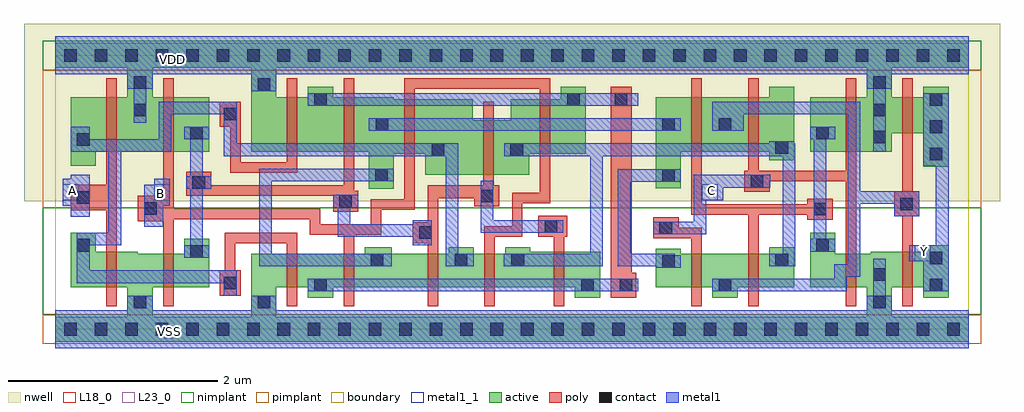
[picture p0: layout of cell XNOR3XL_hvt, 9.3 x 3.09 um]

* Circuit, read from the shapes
.subckt XNOR3XL_hvt A B C VDD VSS Y
M1 VSS A n1 VSS nfet w=0.34u l=0.1u
M2 n2 B VSS VSS nfet w=0.32u l=0.1u
M3 n3 n1 VSS VSS nfet w=0.32u l=0.1u
M4 n4 B n3 VSS nfet w=0.32u l=0.1u
M5 n1 n2 n4 VSS nfet w=0.32u l=0.1u
M6 n5 B n1 VSS nfet w=0.32u l=0.1u
M7 n3 n2 n5 VSS nfet w=0.34u l=0.1u
M8 n6 C n4 VSS nfet w=0.32u l=0.1u
M9 n5 n7 n6 VSS nfet w=0.32u l=0.1u
M10 VSS C n7 VSS nfet w=0.32u l=0.1u
M11 Y n6 VSS VSS nfet w=0.34u l=0.1u
M12 VDD A n1 VDD pfet w=0.52u l=0.1u
M13 n2 B VDD VDD pfet w=0.52u l=0.1u
M14 n3 n1 VDD VDD pfet w=0.52u l=0.1u
M15 n4 n2 n3 VDD pfet w=0.52u l=0.1u
M16 n1 B n4 VDD pfet w=0.52u l=0.1u
M17 n5 n2 n1 VDD pfet w=0.52u l=0.1u
M18 n3 B n5 VDD pfet w=0.52u l=0.1u
M19 n6 n7 n4 VDD pfet w=0.52u l=0.1u
M20 n5 C n6 VDD pfet w=0.52u l=0.1u
M21 VDD C n7 VDD pfet w=0.52u l=0.1u
M22 Y n6 VDD VDD pfet w=0.34u l=0.1u
.ends

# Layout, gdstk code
import gdstk
lib = gdstk.Library(unit=1e-6, precision=5e-10)
def R(c, l, rs):  # rectangles x0, y0, x1, y1
    for r in rs: c.add(gdstk.rectangle(r[:2], r[2:], *l))
def A(c, l, x, y, w, h, nx, ny, dx, dy):  # array of equal rectangles
    R(c, l, [(x+i*dx, y+j*dy, x+i*dx+w, y+j*dy+h) for i in range(nx) for j in range(ny)])
def P(c, l, *ps):  # polygons
    for p in ps: c.add(gdstk.Polygon(p, *l))
active = (1, 0)
nwell = (2, 0)
poly = (3, 0)
nimplant = (4, 0)
pimplant = (5, 0)
contact = (6, 0)
metal1 = (7, 0)
metal1_1 = (7, 1)
L18_0 = (18, 0)
L23_0 = (23, 0)
boundary = (62, 0)

xnor3xl_hvt = lib.new_cell('XNOR3XL_hvt')
R(xnor3xl_hvt, active, [(0.385,0.68,0.785,0.74), (4.505,0.68,5.19,0.74), (7.77,0.695,8.305,0.74)])
P(xnor3xl_hvt, active, [(8.7,0.12),(7.97,0.12),(7.97,0.4),(8.27,0.4),(8.27,0.3),(8.51,0.3),(8.51,0.8),(8.27,0.8),(8.27,0.72),(7.43,0.72),(7.43,0.92),(7.19,0.92),(7.19,0.4),(7.73,0.4),(7.73,0.12),(2.105,0.12),(2.105,0.4),(2.405,0.4),(2.405,0.3),(2.645,0.3),(2.645,0.4),(4.95,0.4),(4.95,0.3),(5.19,0.3),(5.19,0.72),(4.525,0.72),(4.525,0.78),(4.285,0.78),(4.285,0.72),(3.985,0.72),(3.985,0.78),(3.745,0.78),(3.745,0.72),(3.205,0.72),(3.205,0.78),(2.945,0.78),(2.945,0.72),(1.865,0.72),(1.865,0.12),(0.925,0.12),(0.925,0.4),(1.465,0.4),(1.465,0.86),(1.225,0.86),(1.225,0.72),(0.385,0.72),(0.385,0.92),(0.145,0.92),(0.145,0.4),(0.685,0.4),(0.685,0.12),(0,0.12),(0,-0.12),(8.7,-0.12)],
  [(7.04,2.31),(6.8,2.31),(6.8,2.21),(5.72,2.21),(5.72,1.345),(5.96,1.345),(5.96,1.69),(6.8,1.69),(6.8,1.61),(7.04,1.61)],
  [(7.04,0.78),(6.8,0.78),(6.8,0.72),(5.96,0.72),(5.96,0.765),(5.72,0.765),(5.72,0.4),(6.26,0.4),(6.26,0.3),(6.5,0.3),(6.5,0.4),(7.04,0.4)],
  [(8.7,2.73),(0,2.73),(0,2.49),(0.685,2.49),(0.685,2.21),(0.145,2.21),(0.145,1.56),(0.385,1.56),(0.385,1.69),(1.465,1.69),(1.465,2.21),(0.925,2.21),(0.925,2.49),(1.865,2.49),(1.865,1.69),(2.985,1.69),(2.985,1.34),(3.225,1.34),(3.225,1.67),(3.525,1.67),(3.525,1.47),(4.515,1.47),(4.515,1.67),(5.055,1.67),(5.055,2.31),(4.815,2.31),(4.815,2.19),(4.34,2.19),(4.34,1.99),(3.975,1.99),(3.975,2.19),(3.225,2.19),(3.225,2.21),(2.645,2.21),(2.645,2.31),(2.405,2.31),(2.405,2.21),(2.105,2.21),(2.105,2.49),(7.73,2.49),(7.73,2.21),(7.19,2.21),(7.19,1.69),(7.97,1.69),(7.97,1.87),(8.27,1.87),(8.27,1.55),(8.51,1.55),(8.51,2.31),(8.27,2.31),(8.27,2.21),(7.97,2.21),(7.97,2.49),(8.7,2.49)])
R(xnor3xl_hvt, nwell, [(-0.3,1.22,9,2.91)])
R(xnor3xl_hvt, poly, [(1.245,1.3,1.485,1.5), (5.29,2.07,5.49,2.31)])
P(xnor3xl_hvt, poly, [(5.535,0.54),(5.49,0.54),(5.49,2.085),(5.29,2.085),(5.29,0.3),(5.535,0.3)],
  [(4.875,1.08),(4.6,1.08),(4.6,0.88),(4.75,0.88),(4.75,0.22),(4.85,0.22),(4.85,0.88),(4.875,0.88)],
  [(4.715,2.39),(3.325,2.39),(3.325,1.24),(3.005,1.24),(3.005,1),(2.525,1),(2.525,1.15),(1.105,1.15),(1.105,1.05),(2.425,1.05),(2.425,0.9),(2.745,0.9),(2.745,0.22),(2.845,0.22),(2.845,0.9),(3.105,0.9),(3.105,1.14),(3.425,1.14),(3.425,2.29),(4.615,2.29),(4.615,1.3),(4.35,1.3),(4.35,0.98),(4.085,0.98),(4.085,0.22),(4.185,0.22),(4.185,0.88),(4.45,0.88),(4.45,1.2),(4.715,1.2)],
  [(4.23,1.37),(4.175,1.37),(4.175,2.17),(4.075,2.17),(4.075,1.37),(3.545,1.37),(3.545,1.02),(3.405,1.02),(3.405,0.82),(3.545,0.82),(3.545,0.22),(3.645,0.22),(3.645,1.25),(3.99,1.25),(3.99,1.17),(4.23,1.17)],
  [(8.23,1.315),(8.17,1.315),(8.17,2.39),(8.07,2.39),(8.07,1.315),(7.99,1.315),(7.99,1.075),(8.07,1.075),(8.07,0.22),(8.17,0.22),(8.17,1.075),(8.23,1.075)],
  [(2.885,1.32),(2.845,1.32),(2.845,2.39),(2.745,2.39),(2.745,1.37),(1.245,1.37),(1.245,1.27),(2.645,1.27),(2.645,1.12),(2.885,1.12)],
  [(7.405,1.245),(7.165,1.245),(7.165,1.19),(6.16,1.19),(6.16,2.39),(6.06,2.39),(6.06,1.09),(6.6,1.09),(6.6,0.22),(6.7,0.22),(6.7,1.09),(7.165,1.09),(7.165,1.045),(7.405,1.045)],
  [(7.63,2.39),(7.53,2.39),(7.53,1.51),(6.7,1.51),(6.7,2.39),(6.6,2.39),(6.6,1.51),(6.565,1.51),(6.565,1.31),(6.805,1.31),(6.805,1.41),(7.53,1.41),(7.53,0.22),(7.63,0.22)],
  [(6.16,0.965),(5.94,0.965),(5.94,1.065),(5.695,1.065),(5.695,0.865),(6.06,0.865),(6.06,0.22),(6.16,0.22)],
  [(2.305,2.39),(2.205,2.39),(2.205,1.59),(1.765,1.59),(1.765,2.17),(1.565,2.17),(1.565,1.93),(1.665,1.93),(1.665,1.49),(2.305,1.49)],
  [(2.305,0.92),(1.615,0.92),(1.615,0.56),(1.565,0.56),(1.565,0.32),(1.765,0.32),(1.765,0.56),(1.715,0.56),(1.715,0.82),(2.205,0.82),(2.205,0.22),(2.305,0.22)],
  [(0.585,2.39),(0.485,2.39),(0.485,1.375),(0.145,1.375),(0.145,1.135),(0.485,1.135),(0.485,0.22),(0.585,0.22)],
  [(1.125,2.39),(1.025,2.39),(1.025,1.27),(0.785,1.27),(0.785,1.03),(1.025,1.03),(1.025,0.22),(1.125,0.22)])
R(xnor3xl_hvt, nimplant, [(-0.12,0.14,8.82,1.16), (-0.12,2.47,8.82,2.75)])
R(xnor3xl_hvt, pimplant, [(-0.12,-0.14,8.82,0.14), (-0.12,1.16,8.82,2.47)])
A(xnor3xl_hvt, contact, 0.085, -0.06, 0.12, 0.12, 30, 2, 0.29, 2.61)
A(xnor3xl_hvt, contact, 8.33, 1.61, 0.12, 0.12, 1, 3, 0, 0.26)
A(xnor3xl_hvt, contact, 7.79, 1.77, 0.12, 0.12, 1, 3, 0, 0.26)
R(xnor3xl_hvt, contact, [(0.745,0.2,0.865,0.32), (1.925,0.2,2.045,0.32), (7.79,0.2,7.91,0.32), (2.465,0.36,2.585,0.48), (5.01,0.36,5.13,0.48), (5.375,0.36,5.495,0.48), (6.32,0.36,6.44,0.48), (8.33,0.36,8.45,0.48), (1.605,0.38,1.725,0.5), (7.79,0.46,7.91,0.58), (5.78,0.585,5.9,0.705), (3.005,0.6,3.125,0.72), (3.805,0.6,3.925,0.72), (4.345,0.6,4.465,0.72), (6.86,0.6,6.98,0.72), (8.33,0.62,8.45,0.74), (1.285,0.68,1.405,0.8), (0.205,0.74,0.325,0.86), (7.25,0.74,7.37,0.86), (3.465,0.86,3.585,0.98), (5.755,0.905,5.875,1.025), (4.66,0.92,4.78,1.04), (7.225,1.085,7.345,1.205), (0.845,1.09,0.965,1.21), (8.05,1.135,8.17,1.255), (2.705,1.16,2.825,1.28), (0.205,1.195,0.325,1.315), (4.05,1.21,4.17,1.33), (1.305,1.34,1.425,1.46), (6.625,1.35,6.745,1.47), (5.78,1.405,5.9,1.525), (3.045,1.41,3.165,1.53), (3.585,1.65,3.705,1.77), (4.335,1.65,4.455,1.77), (6.86,1.67,6.98,1.79), (0.205,1.75,0.325,1.87), (1.285,1.81,1.405,1.93), (7.25,1.81,7.37,1.93), (3.05,1.89,3.17,2.01), (5.78,1.89,5.9,2.01), (6.32,1.89,6.44,2.01), (1.605,1.99,1.725,2.11), (0.745,2.03,0.865,2.15), (2.465,2.13,2.585,2.25), (4.875,2.13,4.995,2.25), (5.33,2.13,5.45,2.25), (1.925,2.27,2.045,2.39), (0.745,2.29,0.865,2.41)])
R(xnor3xl_hvt, metal1, [(2.405,0.36,5.555,0.48), (8.135,0.65,8.395,0.8), (0.845,0.975,1.025,1.375), (0.145,1.07,0.325,1.47), (0.07,1.175,0.22,1.435), (0.94,1.175,1.09,1.435), (6.105,1.23,6.365,1.38), (2.985,1.89,5.96,2.01), (2.405,2.13,5.555,2.25)])
P(xnor3xl_hvt, metal1, [(4.84,1.04),(4.17,1.04),(4.17,1.415),(4.05,1.415),(4.05,0.92),(4.84,0.92)],
  [(7.05,1.77),(7.04,1.77),(7.04,1.79),(6.8,1.79),(6.8,1.77),(4.275,1.77),(4.275,1.65),(5.095,1.65),(5.095,0.72),(4.27,0.72),(4.27,0.6),(5.215,0.6),(5.215,1.65),(6.93,1.65),(6.93,0.72),(6.8,0.72),(6.8,0.6),(7.05,0.6)],
  [(3.985,0.72),(3.84,0.72),(3.84,1.77),(1.725,1.77),(1.725,2.17),(0.985,2.17),(0.985,1.81),(0.325,1.81),(0.325,1.93),(0.145,1.93),(0.145,1.69),(0.505,1.69),(0.505,0.92),(0.205,0.92),(0.205,0.44),(1.605,0.44),(1.605,0.32),(1.725,0.32),(1.725,0.56),(0.325,0.56),(0.325,0.8),(0.625,0.8),(0.625,1.69),(1.105,1.69),(1.105,2.05),(1.605,2.05),(1.605,1.65),(3.72,1.65),(3.72,0.6),(3.985,0.6)],
  [(3.585,1.04),(3.405,1.04),(3.405,1),(2.81,1),(2.81,1.16),(2.885,1.16),(2.885,1.28),(2.645,1.28),(2.645,1.16),(2.69,1.16),(2.69,0.88),(3.405,0.88),(3.405,0.8),(3.585,0.8)],
  [(8.7,0.18),(7.97,0.18),(7.97,0.32),(7.91,0.32),(7.91,0.67),(7.79,0.67),(7.79,0.32),(7.73,0.32),(7.73,0.18),(2.105,0.18),(2.105,0.32),(1.865,0.32),(1.865,0.18),(0.925,0.18),(0.925,0.32),(0.685,0.32),(0.685,0.18),(0,0.18),(0,-0.18),(8.7,-0.18)],
  [(8.7,2.79),(0,2.79),(0,2.43),(0.685,2.43),(0.685,2.29),(0.745,2.29),(0.745,1.97),(0.865,1.97),(0.865,2.29),(0.925,2.29),(0.925,2.43),(1.865,2.43),(1.865,2.27),(2.105,2.27),(2.105,2.43),(7.73,2.43),(7.73,2.29),(7.79,2.29),(7.79,1.69),(7.91,1.69),(7.91,2.29),(7.97,2.29),(7.97,2.43),(8.7,2.43)],
  [(8.51,2.25),(8.27,2.25),(8.27,1.56),(8.39,1.56),(8.39,0.8),(8.27,0.8),(8.27,0.36),(8.51,0.36)],
  [(8.23,1.315),(7.67,1.315),(7.67,2.17),(6.26,2.17),(6.26,1.89),(6.56,1.89),(6.56,2.05),(7.55,2.05),(7.55,0.62),(7.42,0.62),(7.42,0.48),(6.26,0.48),(6.26,0.36),(7.54,0.36),(7.54,0.5),(7.67,0.5),(7.67,1.195),(7.99,1.195),(7.99,1.075),(8.23,1.075)],
  [(7.43,0.86),(7.345,0.86),(7.345,1.81),(7.43,1.81),(7.43,1.93),(7.19,1.93),(7.19,1.81),(7.225,1.81),(7.225,0.86),(7.19,0.86),(7.19,0.74),(7.43,0.74)],
  [(1.485,1.46),(1.405,1.46),(1.405,1.81),(1.465,1.81),(1.465,1.93),(1.225,1.93),(1.225,1.81),(1.285,1.81),(1.285,1.46),(1.245,1.46),(1.245,1.34),(1.285,1.34),(1.285,0.8),(1.225,0.8),(1.225,0.68),(1.465,0.68),(1.465,0.8),(1.405,0.8),(1.405,1.34),(1.485,1.34)],
  [(6.81,1.47),(6.08,1.47),(6.08,1.025),(5.695,1.025),(5.695,0.905),(6.2,0.905),(6.2,1.35),(6.81,1.35)],
  [(5.96,0.705),(5.9,0.705),(5.9,0.72),(5.48,0.72),(5.48,1.405),(5.96,1.405),(5.96,1.525),(5.36,1.525),(5.36,0.6),(5.72,0.6),(5.72,0.585),(5.96,0.585)])
R(xnor3xl_hvt, metal1_1, [(1.03,-0.085,1.15,0.035), (8.19,0.65,8.34,0.8), (0.07,1.23,0.22,1.38), (0.94,1.23,1.09,1.38), (6.16,1.23,6.31,1.38), (1.055,2.51,1.175,2.63)])
P(xnor3xl_hvt, L18_0, [(7.19,0.4),(7.73,0.4),(7.73,0.14),(7.97,0.14),(7.97,0.4),(8.27,0.4),(8.27,0.3),(8.51,0.3),(8.51,0.8),(8.27,0.8),(8.27,0.74),(7.77,0.74),(7.77,0.72),(7.43,0.72),(7.43,0.92),(7.19,0.92)],
  [(5.72,0.4),(6.26,0.4),(6.26,0.3),(6.5,0.3),(6.5,0.4),(7.04,0.4),(7.04,0.78),(6.8,0.78),(6.8,0.72),(5.96,0.72),(5.96,0.765),(5.72,0.765)],
  [(1.865,0.14),(2.105,0.14),(2.105,0.4),(2.405,0.4),(2.405,0.3),(2.645,0.3),(2.645,0.4),(4.95,0.4),(4.95,0.3),(5.19,0.3),(5.19,0.74),(4.525,0.74),(4.525,0.78),(4.285,0.78),(4.285,0.72),(3.985,0.72),(3.985,0.78),(3.745,0.78),(3.745,0.72),(3.205,0.72),(3.205,0.78),(2.945,0.78),(2.945,0.72),(1.865,0.72)],
  [(0.145,0.4),(0.685,0.4),(0.685,0.14),(0.925,0.14),(0.925,0.4),(1.465,0.4),(1.465,0.86),(1.225,0.86),(1.225,0.72),(0.785,0.72),(0.785,0.74),(0.385,0.74),(0.385,0.92),(0.145,0.92)])
P(xnor3xl_hvt, L23_0, [(7.19,1.69),(7.97,1.69),(7.97,1.87),(8.27,1.87),(8.27,1.55),(8.51,1.55),(8.51,2.31),(8.27,2.31),(8.27,2.21),(7.97,2.21),(7.97,2.47),(7.73,2.47),(7.73,2.21),(7.19,2.21)],
  [(5.72,1.345),(5.96,1.345),(5.96,1.69),(6.8,1.69),(6.8,1.61),(7.04,1.61),(7.04,2.31),(6.8,2.31),(6.8,2.21),(5.72,2.21)],
  [(1.865,1.69),(2.985,1.69),(2.985,1.34),(3.225,1.34),(3.225,1.67),(3.525,1.67),(3.525,1.47),(4.515,1.47),(4.515,1.67),(5.055,1.67),(5.055,2.31),(4.815,2.31),(4.815,2.19),(4.34,2.19),(4.34,1.99),(3.975,1.99),(3.975,2.19),(3.225,2.19),(3.225,2.21),(2.645,2.21),(2.645,2.31),(2.405,2.31),(2.405,2.21),(2.105,2.21),(2.105,2.47),(1.865,2.47)],
  [(0.145,1.56),(0.385,1.56),(0.385,1.69),(1.465,1.69),(1.465,2.21),(0.925,2.21),(0.925,2.47),(0.685,2.47),(0.685,2.21),(0.145,2.21)])
R(xnor3xl_hvt, boundary, [(0,0,8.7,2.61)])
xnor3xl_hvt.add(gdstk.FlexPath([(3.225,1.47),(2,1.47),(2,0.66),(3.205,0.66)], 0.12, ends="flush", simple_path=True, layer=7, datatype=0))  # metal1
xnor3xl_hvt.add(gdstk.Label('VDD', (1.115,2.57), layer=7, texttype=3))
xnor3xl_hvt.add(gdstk.Label('Y', (8.28,0.74), layer=7, texttype=3))
xnor3xl_hvt.add(gdstk.Label('A', (0.16,1.32), layer=7, texttype=3))
xnor3xl_hvt.add(gdstk.Label('B', (1,1.29), layer=7, texttype=3))
xnor3xl_hvt.add(gdstk.Label('C', (6.25,1.32), layer=7, texttype=3))
xnor3xl_hvt.add(gdstk.Label('VSS', (1.09,-0.025), layer=7, texttype=3))

lib.write_gds('XNOR3XL_hvt.gds')
